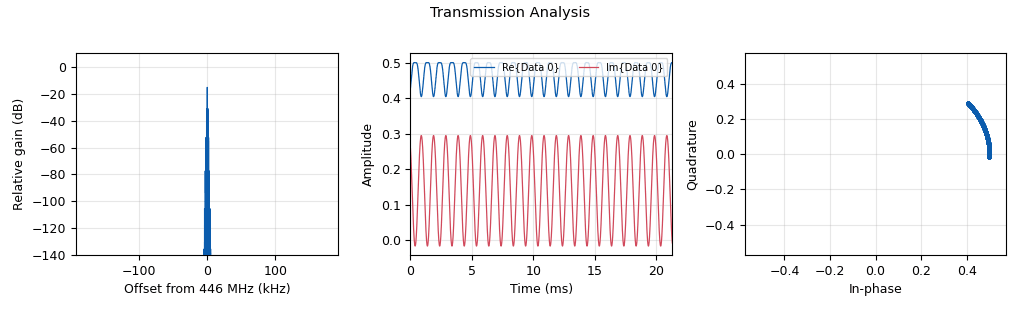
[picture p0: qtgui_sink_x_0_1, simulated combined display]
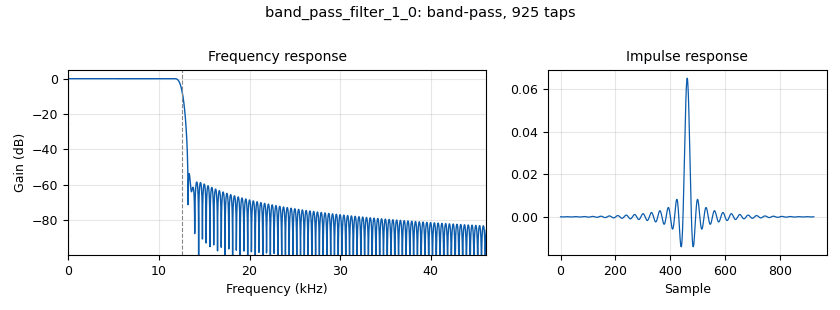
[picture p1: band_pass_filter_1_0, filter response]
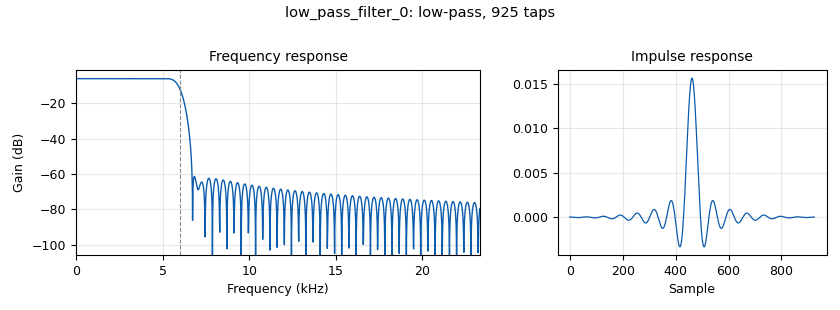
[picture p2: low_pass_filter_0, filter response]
options:
  parameters:
    generate_options: qt_gui
    id: untitled
    output_language: python
    realtime_scheduling: '1'
    title: Walkie Talkie
  states: {}

blocks:
- name: rf_gain
  id: variable_qtgui_range
  parameters:
    label: RF Gain
    outputmsgname: value
    showports: 'False'
    start: '0'
    step: '1'
    stop: '76'
    value: '40'
  states: {}
- name: samp_rate
  id: variable
  parameters:
    value: '384000'
  states: {}
- name: selected_channel
  id: variable_qtgui_chooser
  parameters:
    label: Channel
    labels: '["Channel 1", "Channel 2", "Channel 3", "Channel 4", "Channel 5", "Channel 6", "Channel 7", "Channel 8", ]'
    num_opts: '0'
    options: '[0,1, 2,3,4,5,6,7]'
    orient: Qt.QHBoxLayout
    type: int
    value: '0'
    widget: radio_buttons
  states: {}
- name: tuning
  id: variable
  parameters:
    value: '446000000'
  states: {}
- name: analog_nbfm_rx_0
  id: analog_nbfm_rx
  parameters:
    audio_rate: '48000'
    max_dev: 5e3
    quad_rate: '384000'
    tau: '75e-6'
  states: {}
- name: analog_nbfm_tx_0
  id: analog_nbfm_tx
  parameters:
    audio_rate: '24000'
    fh: '-1.0'
    max_dev: 6e3
    quad_rate: '384000'
    tau: '75e-6'
  states: {}
- name: analog_sig_source_x_0
  id: analog_sig_source_x
  parameters:
    amp: '0.5'
    freq: '1000'
    offset: '0'
    phase: '0'
    samp_rate: '24000'
    type: float
    waveform: analog.GR_SIN_WAVE
  states: {}
- name: analog_simple_squelch_cc_0
  id: analog_simple_squelch_cc
  parameters:
    alpha: '1'
    threshold: '-50'
  states: {}
- name: audio_sink_0
  id: audio_sink
  parameters:
    samp_rate: '48000'
  states: {}
- name: band_pass_filter_1_0
  id: band_pass_filter
  parameters:
    decim: '1'
    gain: '1'
    high_cutoff_freq: 1 + 12500*(selected_channel+1)
    low_cutoff_freq: 1 + 12500*selected_channel
    samp_rate: samp_rate
    type: fir_filter_ccf
    width: '1000'
    win: window.WIN_HAMMING
  states: {}
- name: blocks_freqshift_cc_1
  id: blocks_freqshift_cc
  parameters:
    freq: '-12500*selected_channel -6000'
    sample_rate: samp_rate
  states: {}
- name: blocks_multiply_const_vxx_1
  id: blocks_multiply_const_vxx
  parameters:
    const: '0.1'
    type: float
  states: {}
- name: low_pass_filter_0
  id: low_pass_filter
  parameters:
    cutoff_freq: '6000'
    decim: '1'
    gain: '0.5'
    samp_rate: samp_rate
    type: fir_filter_ccf
    width: '1000'
    win: window.WIN_HAMMING
  states: {}
- name: low_pass_filter_0_1
  id: low_pass_filter
  parameters:
    cutoff_freq: '6000'
    decim: '1'
    gain: '0.5'
    samp_rate: samp_rate
    type: fir_filter_ccf
    width: '1000'
    win: window.WIN_HAMMING
  states: {}
- name: qtgui_sink_x_0_1
  id: qtgui_sink_x
  parameters:
    bw: samp_rate
    fc: tuning
    fftsize: '8192'
    name: '"Transmission Analysis"'
    rate: '100'
    showrf: 'True'
    type: complex
  states: {}
- name: qtgui_sink_x_0_1_0_0
  id: qtgui_sink_x
  parameters:
    bw: samp_rate
    fc: tuning
    fftsize: '8192'
    name: '"Shifted Freq"'
    rate: '100'
    showrf: 'True'
    type: complex
  states: {}
- name: qtgui_sink_x_0_1_0_0_0
  id: qtgui_sink_x
  parameters:
    bw: samp_rate
    fc: tuning
    fftsize: '8192'
    name: '"Shifted Freq"'
    rate: '100'
    showrf: 'True'
    type: complex
  states: {}
- name: uhd_usrp_sink_0
  id: uhd_usrp_sink
  parameters:
    ant0: '"TX/RX"'
    bw0: '384000'
    center_freq0: tuning+6250
    gain0: rf_gain
    samp_rate: '384000'
    sync: sync
    type: fc32
  states: {}
- name: uhd_usrp_source_0
  id: uhd_usrp_source
  parameters:
    ant0: '"RX2"'
    bw0: samp_rate
    center_freq0: tuning
    gain0: '25'
    rx_agc0: Disabled
    samp_rate: samp_rate
    sync: none
    type: fc32
  states: {}

connections:
- [analog_nbfm_rx_0, '0', audio_sink_0, '0']
- [analog_nbfm_tx_0, '0', low_pass_filter_0, '0']
- [analog_sig_source_x_0, '0', blocks_multiply_const_vxx_1, '0']
- [analog_simple_squelch_cc_0, '0', analog_nbfm_rx_0, '0']
- [band_pass_filter_1_0, '0', blocks_freqshift_cc_1, '0']
- [blocks_freqshift_cc_1, '0', low_pass_filter_0_1, '0']
- [blocks_multiply_const_vxx_1, '0', analog_nbfm_tx_0, '0']
- [low_pass_filter_0, '0', qtgui_sink_x_0_1, '0']
- [low_pass_filter_0, '0', uhd_usrp_sink_0, '0']
- [low_pass_filter_0_1, '0', analog_simple_squelch_cc_0, '0']
- [low_pass_filter_0_1, '0', qtgui_sink_x_0_1_0_0_0, '0']
- [uhd_usrp_source_0, '0', band_pass_filter_1_0, '0']
- [uhd_usrp_source_0, '0', qtgui_sink_x_0_1_0_0, '0']

metadata:
  file_format: 1
  grc_version: 3.10.4.0
